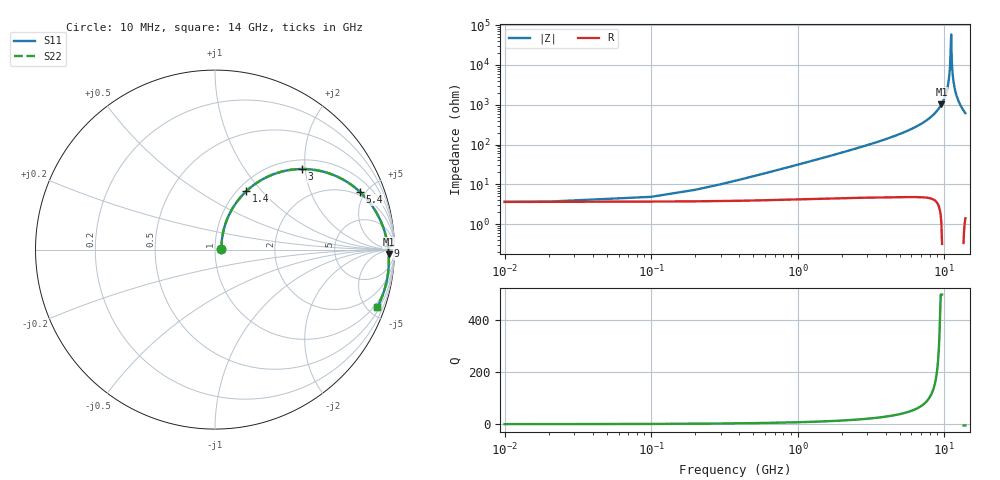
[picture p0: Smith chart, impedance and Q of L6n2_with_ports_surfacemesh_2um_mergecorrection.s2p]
#  GHZ S DB R 50.0
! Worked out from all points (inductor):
!   142 points, 10 MHz to 14 GHz, reference 50 ohm
!   read as one part in series: L = 4.92 nH near 400 MHz
!   highest Q = 969 at 9.6 GHz (marker M1), where L = 16.9 nH
!   self-resonance near 11.1 GHz
!   S11 on the Smith chart (normalised r, x): 10 MHz: 1.07, +0.01; 1.4 GHz: 1.10, +0.83; 3 GHz: 1.20, +1.92; 5.4 GHz: 1.73, +4.57; 9 GHz: 40, +23; 14 GHz: 0.71, -5.76
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0.01  -29.10 4.6  -0.31 -0.2  -0.31 -0.2  -29.10 4.6
0.3  -20.93 62.2  -0.38 -5.6  -0.38 -5.6  -20.93 62.2
0.6  -15.45 68.3  -0.52 -10.8  -0.52 -10.8  -15.45 68.3
1.4  -8.65 61.8  -1.12 -23.6  -1.12 -23.6  -8.65 61.8
2.4  -4.90 49.6  -2.29 -37.7  -2.29 -37.7  -4.90 49.6
3  -3.61 42.9  -3.16 -45.0  -3.16 -45.0  -3.61 42.9
4.7  -1.65 27.1  -6.06 -61.7  -6.06 -61.7  -1.65 27.1
5.4  -1.22 21.8  -7.41 -67.2  -7.41 -67.2  -1.22 21.8
7.1  -0.62 11.0  -11.24 -78.3  -11.24 -78.3  -0.62 11.0
9  -0.32 1.3  -17.42 -88.5  -17.42 -88.5  -0.33 1.2
9.4  -0.29 -0.6  -19.32 -90.5  -19.32 -90.5  -0.29 -0.6
9.6  -0.28 -1.5  -20.42 -91.4  -20.42 -91.4  -0.28 -1.5
10.3  -0.25 -4.6  -25.75 -94.9  -25.75 -94.9  -0.25 -4.6
10.8  -0.24 -6.7  -33.26 -98.0  -33.26 -98.0  -0.24 -6.7
11  -0.24 -7.6  -39.98 -100.6  -39.98 -100.6  -0.24 -7.6
11.2  -0.24 -8.4  -55.62 102.1  -55.62 102.1  -0.24 -8.4
11.3  -0.24 -8.8  -42.73 85.9  -42.73 85.9  -0.24 -8.8
11.4  -0.24 -9.2  -37.72 83.5  -37.72 83.5  -0.24 -9.2
11.5  -0.24 -9.6  -34.58 82.3  -34.58 82.3  -0.24 -9.6
11.7  -0.24 -10.4  -30.49 80.8  -30.49 80.8  -0.24 -10.4
12.5  -0.27 -13.6  -22.64 76.9  -22.64 76.9  -0.27 -13.6
14  -0.36 -19.4  -16.35 70.7  -16.35 70.7  -0.36 -19.4
